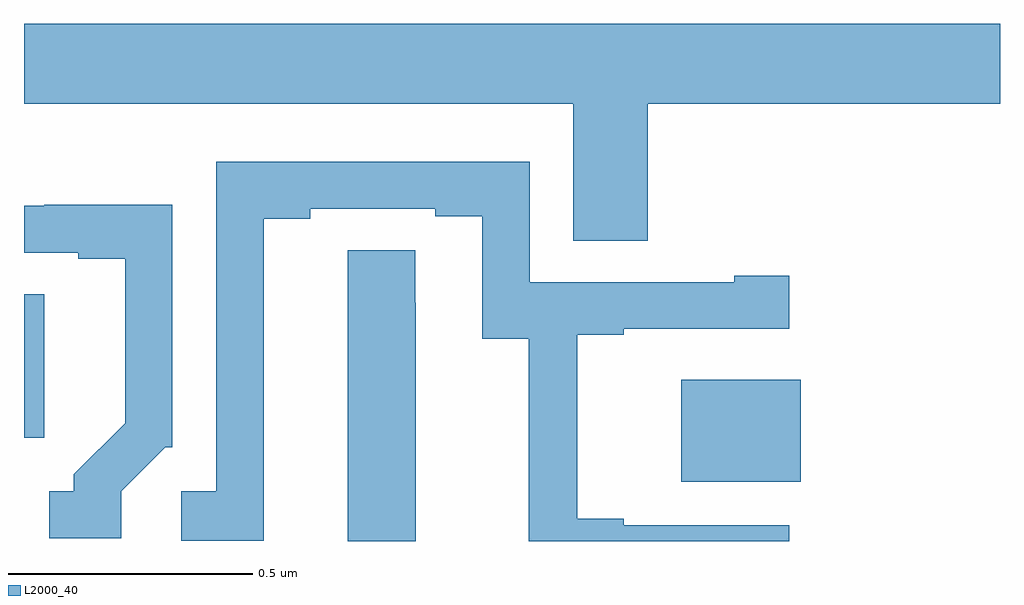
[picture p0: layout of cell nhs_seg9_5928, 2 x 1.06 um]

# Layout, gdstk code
import gdstk
lib = gdstk.Library(unit=1e-6, precision=1e-09)
def R(c, l, rs):  # rectangles x0, y0, x1, y1
    for r in rs: c.add(gdstk.rectangle(r[:2], r[2:], *l))
def P(c, l, *ps):  # polygons
    for p in ps: c.add(gdstk.Polygon(p, *l))
L2000_40 = (2000, 40)

nhs_seg9_5928 = lib.new_cell('nhs_seg9_5928')
R(nhs_seg9_5928, L2000_40, [(186.347,1219.622,186.592,1219.831), (185,1219.712,185.041,1220.006)])
P(nhs_seg9_5928, L2000_40, [(186.278,1220.396),(187,1220.396),(187,1220.56),(185,1220.56),(185,1220.396),(186.125,1220.396),(186.125,1220.116),(186.278,1220.116)],
  [(186.568,1219.533),(186.229,1219.533),(186.229,1219.546),(186.134,1219.546),(186.134,1219.923),(186.229,1219.923),(186.229,1219.935),(186.568,1219.935),(186.568,1220.044),(186.455,1220.044),(186.455,1220.031),(186.036,1220.031),(186.036,1220.277),(185.394,1220.277),(185.394,1219.602),(185.322,1219.602),(185.322,1219.501),(185.491,1219.501),(185.491,1220.161),(185.587,1220.161),(185.587,1220.181),(185.843,1220.181),(185.843,1220.166),(185.939,1220.166),(185.939,1219.915),(186.034,1219.915),(186.034,1219.5),(186.568,1219.5)],
  [(185.199,1219.602),(185.289,1219.692),(185.304,1219.692),(185.304,1220.189),(185.041,1220.189),(185.041,1220.187),(185,1220.187),(185,1220.091),(185.111,1220.091),(185.111,1220.079),(185.207,1220.079),(185.207,1219.742),(185.102,1219.637),(185.102,1219.602),(185.052,1219.602),(185.052,1219.506),(185.199,1219.506)],
  [(185.803,1219.988),(185.802,1219.988),(185.802,1220.096),(185.663,1220.096),(185.663,1219.5),(185.803,1219.5)])

lib.write_gds('nhs_seg9_5928.gds')
